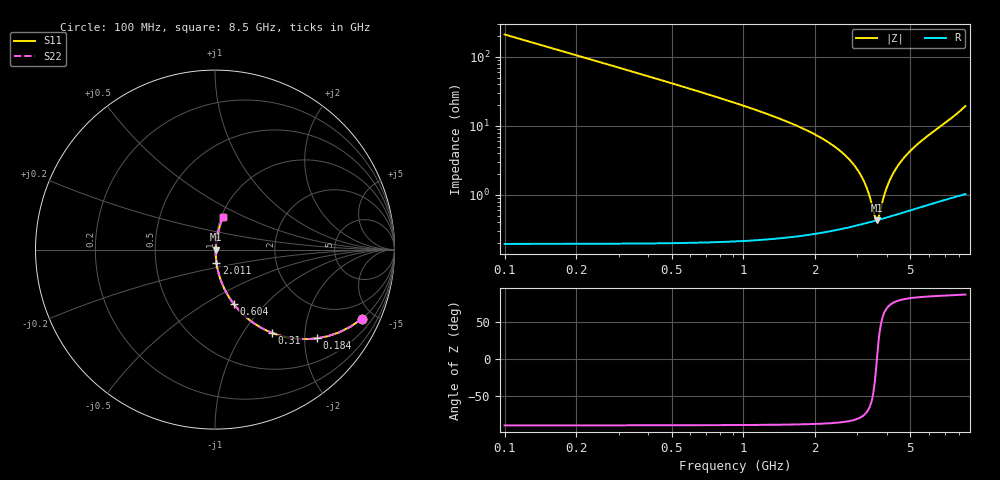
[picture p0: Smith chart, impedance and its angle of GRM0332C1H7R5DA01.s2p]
!Murata Part Number: GRM0332C1H7R5DA01
!These Parameters are Measured in Series Mode Connection
!Data Generated on Mar 30, 2021
!  o--ll--o
!Port1  Port2
!  o------o
!Operation Temp=25[degC], DC Bias Voltage=0[V]
!Freq. Start=100[MHz] Stop=9[GHz] 401[Steps]
# Hz S RI R 50
!Freq.(Hz) S11(Real) S11(Imag) S21(Real) S21(Imag) S12(Real) S12(Imag) S22(Real) S22(Imag)
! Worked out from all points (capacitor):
!   401 points, 100 MHz to 8.5 GHz, reference 50 ohm
!   read as one part in series: C = 7.5 pF near 142 MHz
!   lowest |Z| = 431 mohm at 3.628 GHz (marker M1)
!   series resonance near 3.622 GHz, so ESL is about 260 pH
!   S11 on the Smith chart (normalised r, x): 100 MHz: 1.00, -4.24; 184 MHz: 1.00, -2.30; 310 MHz: 1.00, -1.36; 604 MHz: 1.00, -0.68; 2.011 GHz: 1.01, -0.15; 8.5 GHz: 1.02, +0.39
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1e8  0.8178 -0.3855  0.1822 0.3855  0.1822 0.3855  0.8178 -0.3855
1.84e8  0.5695 -0.4943  0.4305 0.4943  0.4305 0.4943  0.5695 -0.4943
3.1e8  0.3165 -0.4637  0.6835 0.4637  0.6835 0.4637  0.3165 -0.4637
4.36e8  0.1883 -0.3889  0.8117 0.3889  0.8117 0.3889  0.1883 -0.3889
6.04e8  0.1062 -0.3051  0.8938 0.3051  0.8938 0.3051  0.1062 -0.3051
9.82e8  0.0407 -0.1923  0.9593 0.1923  0.9593 0.1923  0.0407 -0.1923
1.507e9  0.0159 -0.1153  0.9841 0.1153  0.9841 0.1153  0.0159 -0.1153
2.011e9  0.00816 -0.0733  0.9918 0.0733  0.9918 0.0733  0.00816 -0.0733
2.536e9  0.00506 -0.0434  0.9949 0.0434  0.9949 0.0434  0.00506 -0.0434
2.914e9  0.00423 -0.0264  0.9958 0.0264  0.9958 0.0264  0.00423 -0.0264
3.229e9  0.00405 -0.014  0.996 0.014  0.996 0.014  0.00405 -0.014
3.376e9  0.00408 -0.00859  0.9959 0.00859  0.9959 0.00859  0.00408 -0.00859
3.544e9  0.0042 -0.00268  0.9958 0.00268  0.9958 0.00268  0.0042 -0.00268
3.628e9  0.00429 0.000188  0.9957 -0.000188  0.9957 -0.000188  0.00429 0.000188
3.691e9  0.00437 0.00231  0.9956 -0.00231  0.9956 -0.00231  0.00437 0.00231
3.838e9  0.00458 0.00715  0.9954 -0.00715  0.9954 -0.00715  0.00458 0.00715
3.964e9  0.0048 0.0112  0.9952 -0.0112  0.9952 -0.0112  0.0048 0.0112
4.3e9  0.00555 0.0217  0.9945 -0.0217  0.9945 -0.0217  0.00555 0.0217
4.867e9  0.00728 0.0387  0.9927 -0.0387  0.9927 -0.0387  0.00728 0.0387
5.707e9  0.011 0.0638  0.989 -0.0638  0.989 -0.0638  0.011 0.0638
7.114e9  0.0215 0.1122  0.9785 -0.1122  0.9785 -0.1122  0.0215 0.1122
8.5e9  0.0457 0.1841  0.9543 -0.1841  0.9543 -0.1841  0.0457 0.1841
